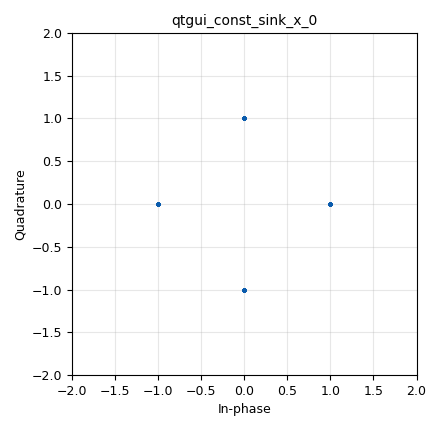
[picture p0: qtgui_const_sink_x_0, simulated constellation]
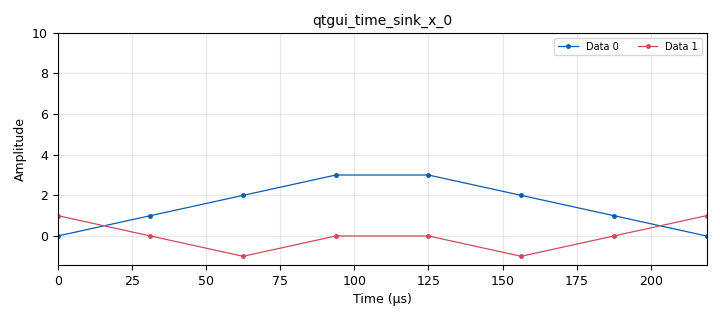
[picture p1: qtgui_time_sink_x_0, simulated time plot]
<?xml version='1.0' encoding='utf-8'?>
<?grc format='1' created='3.7.13'?>
<flow_graph>
<block>
<key>options</key>
<param><key>id</key><value>top_block</value></param>
<param><key>generate_options</key><value>qt_gui</value></param>
</block>
<block>
<key>variable</key>
<param><key>id</key><value>ci</value></param>
<param><key>value</key><value>0,1,0,-1</value></param>
</block>
<block>
<key>variable</key>
<param><key>id</key><value>cr</value></param>
<param><key>value</key><value>1,0,-1,0</value></param>
</block>
<block>
<key>variable</key>
<param><key>id</key><value>samp_rate</value></param>
<param><key>value</key><value>32000</value></param>
</block>
<block>
<key>blocks_char_to_float</key>
<param><key>id</key><value>blocks_char_to_float_0</value></param>
<param><key>scale</key><value>1</value></param>
</block>
<block>
<key>blocks_char_to_float</key>
<param><key>id</key><value>blocks_char_to_float_0_0</value></param>
<param><key>scale</key><value>1</value></param>
</block>
<block>
<key>blocks_char_to_float</key>
<param><key>id</key><value>blocks_char_to_float_0_1</value></param>
<param><key>scale</key><value>1</value></param>
</block>
<block>
<key>blocks_float_to_complex</key>
<param><key>id</key><value>blocks_float_to_complex_0</value></param>
</block>
<block>
<key>blocks_vector_source_x</key>
<param><key>id</key><value>blocks_vector_source_x_0</value></param>
<param><key>type</key><value>byte</value></param>
<param><key>repeat</key><value>True</value></param>
<param><key>vector</key><value>(0,1, 2, 3, 3,2,1,0)</value></param>
</block>
<block>
<key>digital_map_bb</key>
<param><key>id</key><value>digital_map_bb_0</value></param>
<param><key>map</key><value>cr</value></param>
</block>
<block>
<key>digital_map_bb</key>
<param><key>id</key><value>digital_map_bb_0_0</value></param>
<param><key>map</key><value>ci</value></param>
</block>
<block>
<key>qtgui_const_sink_x</key>
<param><key>id</key><value>qtgui_const_sink_x_0</value></param>
<param><key>size</key><value>1024</value></param>
<param><key>type</key><value>complex</value></param>
</block>
<block>
<key>qtgui_time_sink_x</key>
<param><key>id</key><value>qtgui_time_sink_x_0</value></param>
<param><key>color1</key><value>"blue"</value></param>
<param><key>label1</key><value></value></param>
<param><key>marker1</key><value>0</value></param>
<param><key>color2</key><value>"red"</value></param>
<param><key>label2</key><value></value></param>
<param><key>marker2</key><value>3</value></param>
<param><key>nconnections</key><value>2</value></param>
<param><key>size</key><value>8</value></param>
<param><key>srate</key><value>samp_rate</value></param>
<param><key>type</key><value>float</value></param>
<param><key>ymax</key><value>10</value></param>
</block>
<connection><source_block_id>blocks_char_to_float_0</source_block_id><sink_block_id>blocks_float_to_complex_0</sink_block_id><source_key>0</source_key><sink_key>0</sink_key></connection>
<connection><source_block_id>blocks_char_to_float_0</source_block_id><sink_block_id>qtgui_time_sink_x_0</sink_block_id><source_key>0</source_key><sink_key>1</sink_key></connection>
<connection><source_block_id>blocks_char_to_float_0_0</source_block_id><sink_block_id>qtgui_time_sink_x_0</sink_block_id><source_key>0</source_key><sink_key>0</sink_key></connection>
<connection><source_block_id>blocks_char_to_float_0_1</source_block_id><sink_block_id>blocks_float_to_complex_0</sink_block_id><source_key>0</source_key><sink_key>1</sink_key></connection>
<connection><source_block_id>blocks_float_to_complex_0</source_block_id><sink_block_id>qtgui_const_sink_x_0</sink_block_id><source_key>0</source_key><sink_key>0</sink_key></connection>
<connection><source_block_id>blocks_vector_source_x_0</source_block_id><sink_block_id>blocks_char_to_float_0_0</sink_block_id><source_key>0</source_key><sink_key>0</sink_key></connection>
<connection><source_block_id>blocks_vector_source_x_0</source_block_id><sink_block_id>digital_map_bb_0</sink_block_id><source_key>0</source_key><sink_key>0</sink_key></connection>
<connection><source_block_id>blocks_vector_source_x_0</source_block_id><sink_block_id>digital_map_bb_0_0</sink_block_id><source_key>0</source_key><sink_key>0</sink_key></connection>
<connection><source_block_id>digital_map_bb_0</source_block_id><sink_block_id>blocks_char_to_float_0</sink_block_id><source_key>0</source_key><sink_key>0</sink_key></connection>
<connection><source_block_id>digital_map_bb_0_0</source_block_id><sink_block_id>blocks_char_to_float_0_1</sink_block_id><source_key>0</source_key><sink_key>0</sink_key></connection>
</flow_graph>
